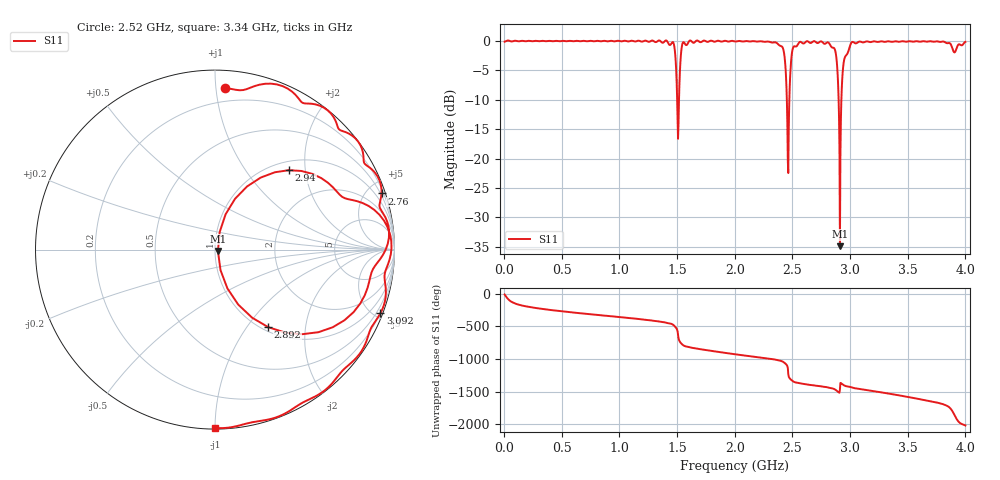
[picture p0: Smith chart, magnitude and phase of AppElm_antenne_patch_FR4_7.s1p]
! TOUCHSTONE file generated by CST MICROWAVE STUDIO
! Date and time: Tue Jun 14 11:51:03 2022
! Project name: AppElm_antenne_patch_FR4.cst
! Parameters = {L=47.25; W=58.5; e=0.035; h=1.6; lambda=0.190476; ls=120; w0=2.54; w1=0.847; ws=120; y0=18; y1=23.8}
! Header version: 2018
! Port assignment regex: !\s*Touchstone port\s*([0-9]+)\s*=\s*(CST MWS port|CST DS port)\s*([0-9]+|Zmin|Zmax)\s*\(\"(.*)\"\)(\s*mode\s*([0-9]+))?.*
! Touchstone port assignment:
! Touchstone port 1 = CST MWS port 1 ("")
# GHz S MA R 50
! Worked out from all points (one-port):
!   1000 points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, 4 MHz to 4 GHz, reference 50 ohm
!   lowest |S11| = -34.9 dB at 2.912 GHz (marker M1), VSWR 1.04, Z = 51.7 - j0.771 ohm
!   |S11| at or under -10 dB: 1.5 GHz to 1.516 GHz (16.11 MHz wide, 1.07 % of centre); 2.452 GHz to 2.473 GHz (21.71 MHz wide, 0.882 % of centre); 2.901 GHz to 2.925 GHz (24.07 MHz wide, 0.826 % of centre)
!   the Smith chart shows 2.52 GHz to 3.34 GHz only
!   S11 on the Smith chart (normalised r, x): 2.52 GHz: 0.11, +1.06; 2.76 GHz: 0.40, +6.07; 2.892 GHz: 1.06, -1.27; 2.94 GHz: 1.17, +1.63; 3.092 GHz: 0.19, -5.37; 3.34 GHz: 0.01, -1.00
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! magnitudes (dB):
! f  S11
! 4 MHz  -0.1
! 504 MHz  0.0
! 1.004 GHz  0.0
! 1.456 GHz  -0.2
! 1.476 GHz  -1.0
! 1.504 GHz  -13.4
! 1.52 GHz  -7.4
! 1.56 GHz  -0.2
! 2.004 GHz  -0.1
! 2.404 GHz  -0.9
! 2.428 GHz  -2.1
! 2.448 GHz  -7.7
! 2.46 GHz  -20.4
! 2.476 GHz  -8.1
! 2.504 GHz  -1.2
! 2.52 GHz  -0.9
! 2.76 GHz  -0.2
! 2.864 GHz  -1.3
! 2.884 GHz  -3.4
! 2.892 GHz  -5.6
! 2.912 GHz  -34.9
! 2.928 GHz  -8.1
! 2.94 GHz  -4.4
! 3.004 GHz  -0.6
! 3.092 GHz  -0.1
! 3.34 GHz  -0.1
! 3.504 GHz  -0.1
! 4 GHz  -0.1
